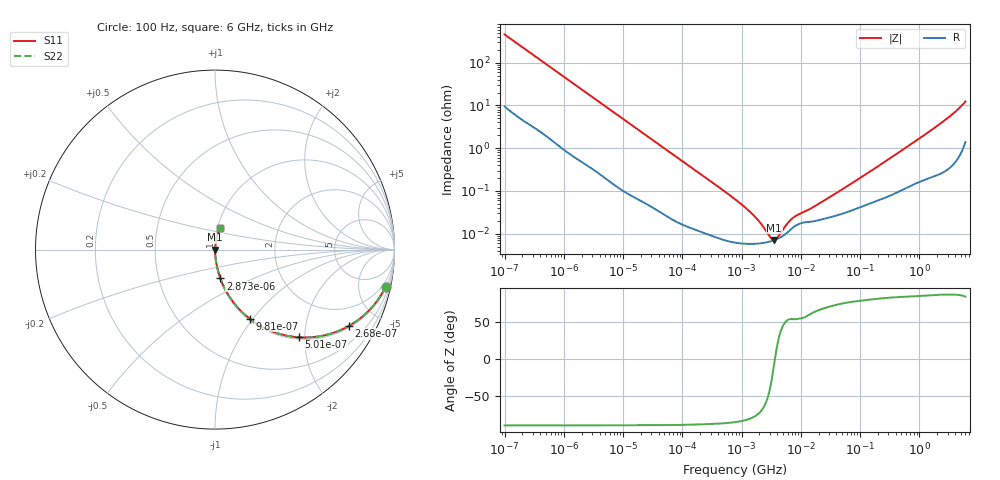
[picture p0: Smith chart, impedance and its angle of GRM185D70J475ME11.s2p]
!Murata Part Number: GRM185D70J475ME11
!These Parameters are Measured in Series Mode Connection
!Data Generated on Mar 30, 2021
!  o--ll--o
!Port1  Port2
!  o------o
!Operation Temp=25[degC], DC Bias Voltage=0[V]
!Freq. Start=100[Hz] Stop=6[GHz] 401[Steps]
# Hz S RI R 50
!Freq.(Hz) S11(Real) S11(Imag) S21(Real) S21(Imag) S12(Real) S12(Imag) S22(Real) S22(Imag)
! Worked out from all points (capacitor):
!   401 points, 100 Hz to 6 GHz, reference 50 ohm
!   read as one part in series: C = 3.45 uF near 109 Hz
!   lowest |Z| = 7.11 mohm at 3.55 MHz (marker M1)
!   series resonance near 3.655 MHz, so ESL is about 550 pH
!   S11 on the Smith chart (normalised r, x): 100 Hz: 1.19, -9.18; 268 Hz: 1.07, -3.47; 501 Hz: 1.04, -1.87; 981 Hz: 1.02, -0.96; 2.873 kHz: 1.01, -0.33; 6 GHz: 1.03, +0.25
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100  0.9508 -0.2062  0.0492 0.2062  0.0492 0.2062  0.9508 -0.2062
164  0.8836 -0.3111  0.1164 0.3111  0.1164 0.3111  0.8836 -0.3111
268  0.7459 -0.4253  0.2541 0.4253  0.2541 0.4253  0.7459 -0.4253
366  0.6158 -0.4762  0.3842 0.4762  0.3842 0.4762  0.6158 -0.4762
501  0.4668 -0.4886  0.5332 0.4886  0.5332 0.4886  0.4668 -0.4886
981  0.1929 -0.3849  0.8071 0.3849  0.8071 0.3849  0.1929 -0.3849
2008  0.0572 -0.2224  0.9428 0.2224  0.9428 0.2224  0.0572 -0.2224
2873  0.0301 -0.1609  0.9699 0.1609  0.9699 0.1609  0.0301 -0.1609
8416  0.00447 -0.0573  0.9955 0.0573  0.9955 0.0573  0.00447 -0.0573
40335  0.000481 -0.0123  0.9995 0.0123  0.9995 0.0123  0.000481 -0.0123
774597  6.21e-05 -0.000638  0.9999 0.000638  0.9999 0.000638  6.21e-05 -0.000638
1585629  5.78e-05 -0.000265  0.9999 0.000265  0.9999 0.000265  5.78e-05 -0.000265
2713602  6.33e-05 -8.51e-05  0.9999 8.51e-05  0.9999 8.51e-05  6.33e-05 -8.51e-05
2967816  6.53e-05 -5.89e-05  0.9999 5.89e-05  0.9999 5.89e-05  6.53e-05 -5.89e-05
3549919  7.06e-05 -8.1e-06  0.9999 8.1e-06  0.9999 8.1e-06  7.06e-05 -8.1e-06
4440638  8.1e-05 5.44e-05  0.9999 -5.44e-05  0.9999 -5.44e-05  8.1e-05 5.44e-05
7266822  0.000137 0.000186  0.9999 -0.000186  0.9999 -0.000186  0.000137 0.000186
1.555665e7  0.000192 0.000357  0.9998 -0.000357  0.9998 -0.000357  0.000192 0.000357
3.124326e8  0.000795 0.00561  0.9992 -0.00561  0.9992 -0.00561  0.000795 0.00561
2.240541e9  0.00386 0.0369  0.9961 -0.0369  0.9961 -0.0369  0.00386 0.0369
3.8344e9  0.00864 0.0658  0.9914 -0.0658  0.9914 -0.0658  0.00864 0.0658
6e9  0.0281 0.1184  0.9719 -0.1184  0.9719 -0.1184  0.0281 0.1184
